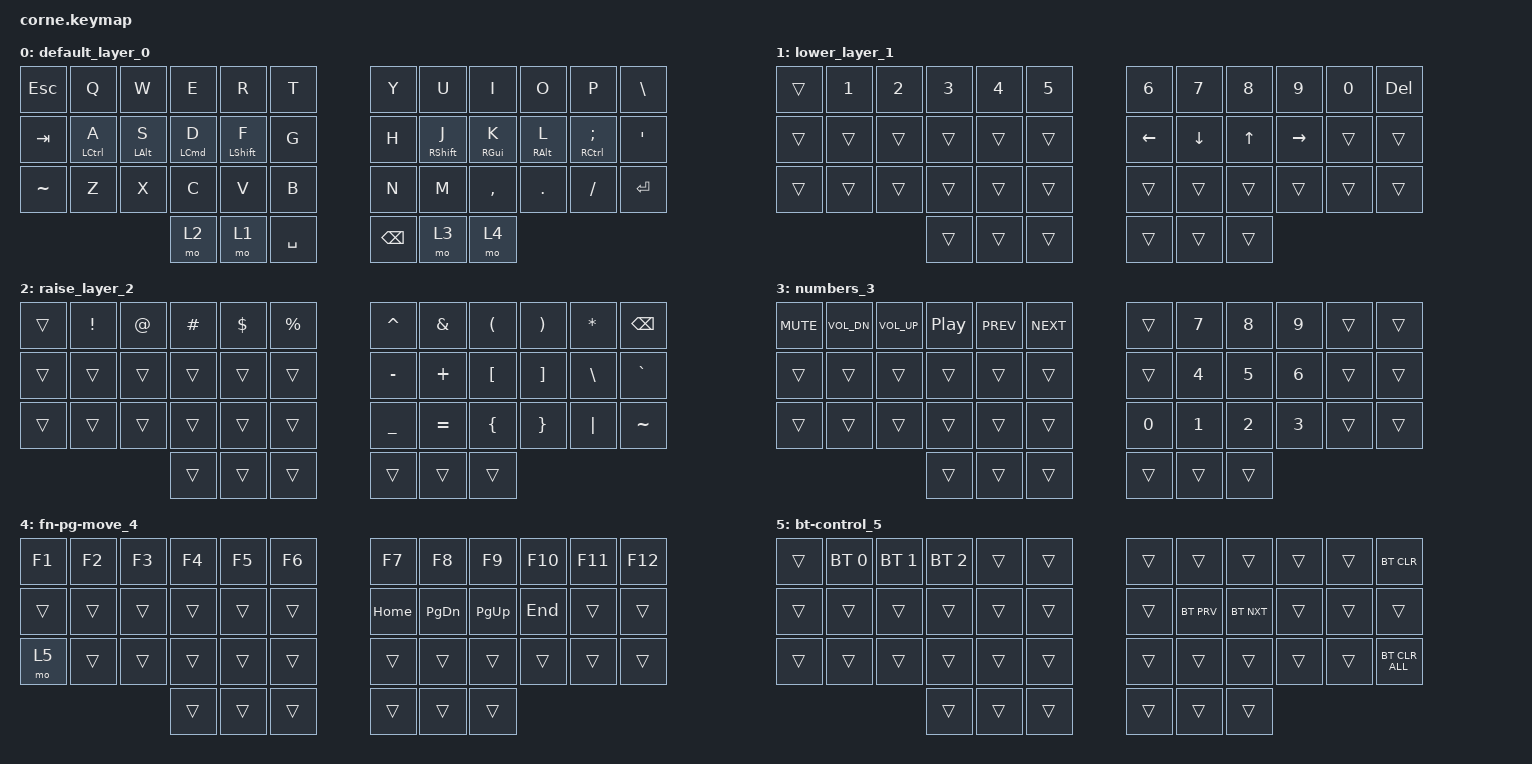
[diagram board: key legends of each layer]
/*
 * Copyright (c) 2020 The ZMK Contributors
 *
 * SPDX-License-Identifier: MIT
 */

#include <behaviors.dtsi>
#include <dt-bindings/zmk/bt.h>
#include <dt-bindings/zmk/keys.h>

/ {
    behaviors {
        HML: HML {
            compatible = "zmk,behavior-hold-tap";
            label = "HML";
            bindings = <&kp>, <&kp>;

            #binding-cells = <2>;
            tapping-term-ms = <200>;
            quick-tap-ms = <180>;
            flavor = "tap-preferred";
            hold-trigger-on-release;
            hold-trigger-key-positions = <13 14 15 16>;
        };

        HMR: HMR {
            compatible = "zmk,behavior-hold-tap";
            label = "HMR";
            bindings = <&kp>, <&kp>;

            #binding-cells = <2>;
            tapping-term-ms = <200>;
            quick-tap-ms = <180>;
            hold-trigger-key-positions = <19 20 21 22>;
            hold-trigger-on-release;
            flavor = "tap-preferred";
        };
    };

    keymap {
        compatible = "zmk,keymap";

        default_layer_0 {
            // -----------------------------------------------------------------------------------------
            // |  TAB |  Q  |  W  |  E  |  R  |  T  |   |  Y  |  U   |  I  |  O  |  P  | BSPC |
            // | CTRL |  A  |  S  |  D  |  F  |  G  |   |  H  |  J   |  K  |  L  |  ;  |  '   |
            // | SHFT |  Z  |  X  |  C  |  V  |  B  |   |  N  |  M   |  ,  |  .  |  /  | ESC  |
            //                    | GUI | LWR | SPC |   | ENT | RSE  | ALT |

            bindings = <
&kp ESCAPE  &kp Q         &kp W        &kp E                &kp R              &kp T        &kp Y          &kp U          &kp I        &kp O        &kp P                 &kp BACKSLASH
&kp TAB     &HML LCTRL A  &HML LALT S  &HML LEFT_COMMAND D  &HML LEFT_SHIFT F  &kp G        &kp H          &HMR RSHIFT J  &HMR RGUI K  &HMR RALT L  &HMR RCTRL SEMICOLON  &kp SQT
&kp TILDE   &kp Z         &kp X        &kp C                &kp V              &kp B        &kp N          &kp M          &kp COMMA    &kp DOT      &kp FSLH              &kp ENTER
                                       &mo 2                &mo 1              &kp SPACE    &kp BACKSPACE  &mo 3          &mo 4
            >;
        };

        lower_layer_1 {
            // -----------------------------------------------------------------------------------------
            // |  TAB |  1  |  2  |  3  |  4  |  5  |   |  6  |  7  |  8  |  9  |  0  | BSPC |
            // | BTCLR| BT1 | BT2 | BT3 | BT4 | BT5 |   | LFT | DWN |  UP | RGT |     |      |
            // | SHFT |     |     |     |     |     |   |     |     |     |     |     |      |
            //                    | GUI |     | SPC |   | ENT |     | ALT |

            bindings = <
&trans  &kp N1  &kp N2  &kp N3  &kp N4  &kp N5    &kp N6    &kp N7    &kp N8        &kp N9     &kp N0  &kp DELETE
&trans  &trans  &trans  &trans  &trans  &trans    &kp LEFT  &kp DOWN  &kp UP_ARROW  &kp RIGHT  &trans  &trans
&trans  &trans  &trans  &trans  &trans  &trans    &trans    &trans    &trans        &trans     &trans  &trans
                        &trans  &trans  &trans    &trans    &trans    &trans
            >;
        };

        raise_layer_2 {
            // -----------------------------------------------------------------------------------------
            // |  TAB |  !  |  @  |  #  |  $  |  %  |   |  ^  |  &  |  *  |  (  |  )  | BSPC |
            // | CTRL |     |     |     |     |     |   |  -  |  =  |  [  |  ]  |  \  |  `   |
            // | SHFT |     |     |     |     |     |   |  _  |  +  |  {  |  }  | "|" |  ~   |
            //                    | GUI |     | SPC |   | ENT |     | ALT |

            bindings = <
&trans  &kp EXCL  &kp AT  &kp HASH  &kp DLLR  &kp PRCNT    &kp CARET  &kp AMPS   &kp LEFT_PARENTHESIS  &kp RIGHT_PARENTHESIS  &kp ASTERISK  &kp BSPC
&trans  &trans    &trans  &trans    &trans    &trans       &kp MINUS  &kp PLUS   &kp LBKT              &kp RBKT               &kp BSLH      &kp GRAVE
&trans  &trans    &trans  &trans    &trans    &trans       &kp UNDER  &kp EQUAL  &kp LBRC              &kp RBRC               &kp PIPE      &kp TILDE
                          &trans    &trans    &trans       &trans     &trans     &trans
            >;
        };

        numbers_3 {
            bindings = <
&kp C_MUTE  &kp C_VOL_DN  &kp C_VOLUME_UP  &kp C_PLAY_PAUSE  &kp C_PREV  &kp C_NEXT    &trans        &kp N7        &kp N8        &kp N9        &trans  &trans
&trans      &trans        &trans           &trans            &trans      &trans        &trans        &kp NUMBER_4  &kp N5        &kp NUMBER_6  &trans  &trans
&trans      &trans        &trans           &trans            &trans      &trans        &kp NUMBER_0  &kp NUMBER_1  &kp NUMBER_2  &kp NUMBER_3  &trans  &trans
                                           &trans            &trans      &trans        &trans        &trans        &trans
            >;
        };

        fn-pg-move_4 {
            bindings = <
&kp F1  &kp F2  &kp F3  &kp F4  &kp F5  &kp F6    &kp F7    &kp F8         &kp F9       &kp F10  &kp F11  &kp F12
&trans  &trans  &trans  &trans  &trans  &trans    &kp HOME  &kp PAGE_DOWN  &kp PAGE_UP  &kp END  &trans   &trans
&mo 5   &trans  &trans  &trans  &trans  &trans    &trans    &trans         &trans       &trans   &trans   &trans
                        &trans  &trans  &trans    &trans    &trans         &trans
            >;
        };

        bt-control_5 {
            bindings = <
&trans  &bt BT_SEL 0  &bt BT_SEL 1  &bt BT_SEL 2  &trans  &trans    &trans  &trans      &trans      &trans  &trans  &bt BT_CLR
&trans  &trans        &trans        &trans        &trans  &trans    &trans  &bt BT_PRV  &bt BT_NXT  &trans  &trans  &trans
&trans  &trans        &trans        &trans        &trans  &trans    &trans  &trans      &trans      &trans  &trans  &bt BT_CLR_ALL
                                    &trans        &trans  &trans    &trans  &trans      &trans
            >;
        };
    };
};
